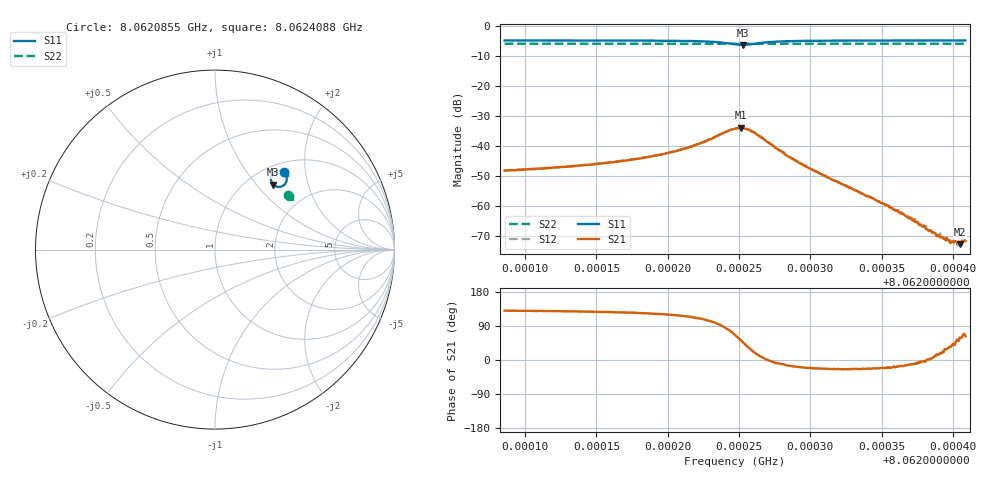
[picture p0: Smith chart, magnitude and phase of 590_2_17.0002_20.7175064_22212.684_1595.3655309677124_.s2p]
#  HZ  S  RI  R  50.00
! Rohde & Schwarz Vector Network Analyzer
! Rohde-Schwarz,ZNB20-2Port,1311601062101988,3.16
! Created: UTC 3/20/2024, 11:18:35 PM
! freq[Hz]  re:S11  im:S11  re:S21  im:S21  re:S12  im:S12  re:S22  im:S22
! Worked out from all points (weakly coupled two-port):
!   401 points, 8.0620855 GHz to 8.0624088 GHz, reference 50 ohm
!   highest |S21| = -33.87 dB at 8.0622512 GHz (marker M1); lowest = -72.5 dB at 8.0624048 GHz (marker M2)
!   lowest |S11| = -6.3 dB at 8.0622528 GHz (marker M3), VSWR 2.89, Z = 65.1 + j61.7 ohm
!   |S11| at or under -10 dB: nowhere
!   |S22| runs from -5.9 to -5.9 dB; largest |S21 - S12| = 0.0012
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8.06208554e9  0.3828 0.4303  -0.00255 0.003  -0.00236 0.00321  0.4059 0.3066
8.06213969e9  0.3883 0.4244  -0.00296 0.00378  -0.00274 0.00398  0.408 0.3038
8.06216959e9  0.3923 0.4191  -0.00334 0.0047  -0.00306 0.00492  0.4091 0.3021
8.06219384e9  0.3963 0.4118  -0.00374 0.00611  -0.00343 0.00638  0.41 0.3005
8.06221808e9  0.4001 0.3959  -0.00385 0.00941  -0.00327 0.00975  0.4107 0.2987
8.06223586e9  0.3913 0.3673  -0.00102 0.0154  -0.00015 0.0155  0.4105 0.2966
8.06224718e9  0.3531 0.3493  0.00802 0.018  0.00892 0.0177  0.409 0.2959
8.06225122e9  0.3323 0.356  0.0124 0.016  0.0134 0.0154  0.4082 0.2962
8.06225283e9  0.325 0.3618  0.0138 0.0144  0.0148 0.0138  0.4081 0.2964
8.0622593e9  0.3117 0.393  0.0159 0.00715  0.0166 0.00641  0.4081 0.2977
8.06227061e9  0.3283 0.428  0.0115 -0.000179  0.0117 -0.000811  0.4097 0.2985
8.06228516e9  0.3509 0.4374  0.00638 -0.00169  0.00638 -0.00217  0.4113 0.2979
8.06230132e9  0.3638 0.4371  0.00378 -0.00152  0.00378 -0.00172  0.4122 0.2969
8.06235547e9  0.3803 0.4309  0.000895 -0.000318  0.000948 -0.000404  0.4148 0.2939
8.06236598e9  0.382 0.4299  0.000701 -0.000182  0.000701 -0.000263  0.4153 0.2933
8.0623781e9  0.3837 0.4288  0.000469 -3.51e-05  0.000518 -6.55e-05  0.4158 0.2926
8.06238699e9  0.3848 0.4279  0.00036 6.31e-05  0.000319 3.84e-05  0.4161 0.2921
8.06239022e9  0.3852 0.4277  0.000309 8.27e-05  0.000322 3.33e-05  0.4162 0.2919
8.06239346e9  0.3856 0.4275  0.000274 0.0001  0.000269 0.000101  0.4162 0.2918
8.0623983e9  0.3861 0.427  0.000203 0.000137  0.000222 0.000151  0.4163 0.2914
8.06240477e9  0.3869 0.4265  0.00012 0.000203  0.000141 0.000166  0.4166 0.2912
8.06240881e9  0.3874 0.4262  0.00012 0.000238  0.000119 0.000222  0.4168 0.291
